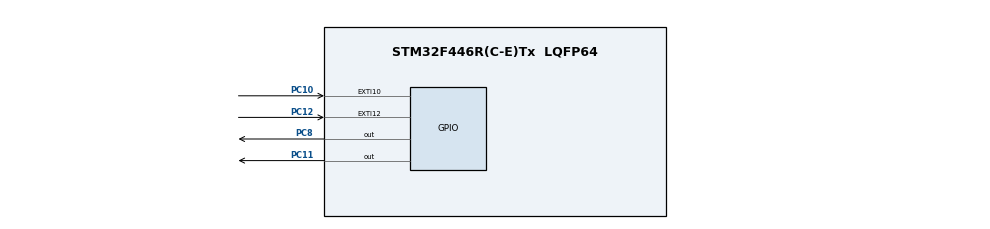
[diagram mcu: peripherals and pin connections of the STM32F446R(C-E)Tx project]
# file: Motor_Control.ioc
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Mcu.Family=STM32F4
Mcu.Name=STM32F446R(C-E)Tx
Mcu.Package=LQFP64
NVIC.EXTI15_10_IRQn=true\:0\:0\:false\:false\:true\:true\:true
NVIC.PriorityGroup=NVIC_PRIORITYGROUP_4
NVIC.TIM1_UP_TIM10_IRQn=true\:0\:0\:false\:false\:true\:true\:true
PA13.Mode=Trace_Asynchronous_SW
PA13.Signal=SYS_JTMS-SWDIO
PA14.Mode=Trace_Asynchronous_SW
PA14.Signal=SYS_JTCK-SWCLK
PB3.Mode=Trace_Asynchronous_SW
PB3.Signal=SYS_JTDO-SWO
PC10.Signal=GPXTI10
PC11.Signal=GPIO_Output
PC12.Signal=GPXTI12
PC14-OSC32_IN.Mode=LSE-External-Oscillator
PC14-OSC32_IN.Signal=RCC_OSC32_IN
PC15-OSC32_OUT.Mode=LSE-External-Oscillator
PC15-OSC32_OUT.Signal=RCC_OSC32_OUT
PC8.Signal=GPIO_Output
PH0-OSC_IN.Mode=HSE-External-Oscillator
PH0-OSC_IN.Signal=RCC_OSC_IN
PH1-OSC_OUT.Mode=HSE-External-Oscillator
PH1-OSC_OUT.Signal=RCC_OSC_OUT
ProjectManager.HeapSize=0x200
ProjectManager.StackSize=0x400
ProjectManager.TargetToolchain=STM32CubeIDE
RCC.AHBFreq_Value=16000000
RCC.APB1Freq_Value=16000000
RCC.APB1TimFreq_Value=16000000
RCC.APB2Freq_Value=16000000
RCC.APB2TimFreq_Value=16000000
RCC.CortexFreq_Value=16000000
RCC.HCLKFreq_Value=16000000
RCC.USBFreq_Value=96000000
RCC.VCOOutputFreq_Value=192000000
TIM1.Period=10000-1
TIM1.Prescaler=16-1
TIM6.Period=65535 -1
TIM6.Prescaler=16-1
TIM7.Period=65535 -1
TIM7.Prescaler=16-1
VP_TIM1_VS_ClockSourceINT.Mode=Internal
VP_TIM6_VS_ClockSourceINT.Mode=Enable_Timer
VP_TIM7_VS_ClockSourceINT.Mode=Enable_Timer
board=custom

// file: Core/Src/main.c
/* USER CODE BEGIN Header */
/**
  ******************************************************************************
  * @file           : main.c
  * @brief          : Main program body
  ******************************************************************************
  * @attention
  *
  * <h2><center>&copy; Copyright (c) 2021 STMicroelectronics.
  * All rights reserved.</center></h2>
  *
  * This software component is licensed by ST under BSD 3-Clause license,
  * the "License"; You may not use this file except in compliance with the
  * License. You may obtain a copy of the License at:
  *                        opensource.org/licenses/BSD-3-Clause
  *
  ******************************************************************************
  */
/* USER CODE END Header */
#include "main.h"
#include "tim.h"
#include "gpio.h"

/* USER CODE BEGIN Includes */
#include <stdint.h>
#include "ppm.h"
/* USER CODE END Includes */

/* USER CODE BEGIN PV */
extern TIM_HandleTypeDef htim1;
extern uint8_t G_Angule_Value;
extern volatile uint8_t G_phase_Value;
extern Direction_increment_T gflag_increment;
/* USER CODE END PV */

void SystemClock_Config(void);

int main(void)
{

  /* MCU Configuration--------------------------------------------------------*/

  /* Reset of all peripherals, Initializes the Flash interface and the Systick. */
  HAL_Init();

  /* Configure the system clock */
  SystemClock_Config();

  /* Initialize all configured peripherals */
  MX_GPIO_Init();
  MX_TIM1_Init();
  MX_TIM7_Init();
  MX_TIM6_Init();
  /* USER CODE BEGIN 2 */
  //HAL_TIM_PWM_Start(&htim1, TIM_CHANNEL_1);
  HAL_TIM_Base_Start(&htim7);
  HAL_TIM_Base_Start_IT(&htim1);
  //HAL_TIM_Base_Start(&htim6);
  soft_start();
  /* USER CODE END 2 */

  /* Infinite loop */
  while (1)
  {

    /* USER CODE BEGIN 3 */

	  speed_set();
  }
  /* USER CODE END 3 */
}

void SystemClock_Config(void)
{
  RCC_OscInitTypeDef RCC_OscInitStruct = {0};
  RCC_ClkInitTypeDef RCC_ClkInitStruct = {0};

  /** Configure the main internal regulator output voltage
  */
  __HAL_RCC_PWR_CLK_ENABLE();
  __HAL_PWR_VOLTAGESCALING_CONFIG(PWR_REGULATOR_VOLTAGE_SCALE3);
  /** Initializes the RCC Oscillators according to the specified parameters
  * in the RCC_OscInitTypeDef structure.
  */
  RCC_OscInitStruct.OscillatorType = RCC_OSCILLATORTYPE_HSI;
  RCC_OscInitStruct.HSIState = RCC_HSI_ON;
  RCC_OscInitStruct.HSICalibrationValue = RCC_HSICALIBRATION_DEFAULT;
  RCC_OscInitStruct.PLL.PLLState = RCC_PLL_NONE;
  if (HAL_RCC_OscConfig(&RCC_OscInitStruct) != HAL_OK)
  {
    Error_Handler();
  }
  /** Initializes the CPU, AHB and APB buses clocks
  */
  RCC_ClkInitStruct.ClockType = RCC_CLOCKTYPE_HCLK|RCC_CLOCKTYPE_SYSCLK
                              |RCC_CLOCKTYPE_PCLK1|RCC_CLOCKTYPE_PCLK2;
  RCC_ClkInitStruct.SYSCLKSource = RCC_SYSCLKSOURCE_HSI;
  RCC_ClkInitStruct.AHBCLKDivider = RCC_SYSCLK_DIV1;
  RCC_ClkInitStruct.APB1CLKDivider = RCC_HCLK_DIV1;
  RCC_ClkInitStruct.APB2CLKDivider = RCC_HCLK_DIV1;

  if (HAL_RCC_ClockConfig(&RCC_ClkInitStruct, FLASH_LATENCY_0) != HAL_OK)
  {
    Error_Handler();
  }
}

/* USER CODE BEGIN 4 */

void HAL_TIM_PeriodElapsedCallback(TIM_HandleTypeDef *htim)
{

	if(htim == &htim1)
	{
		HAL_GPIO_TogglePin(GPIOC, GPIO_PIN_11);
		ppm(G_Angule_Value);

	}
}

void HAL_GPIO_EXTI_Callback(uint16_t GPIO_Pin)
{
	if(GPIO_Pin == INCREMENT_BUTTON)
	{
		gflag_increment = decrement;
		if(G_phase_Value >= 0x04U)
		{
			G_phase_Value = 0x04U;
		}
		else
		{
			G_phase_Value = G_phase_Value << 0x01U;
		}

	}
	else if(GPIO_Pin == DECREMENT_BUTTON)
	{
		gflag_increment = increment;
		if(G_phase_Value <= 0x01U)
		{
			G_phase_Value = 0x01U;
		}
		else
		{
			G_phase_Value = G_phase_Value >> 0x01U;
		}

	}
}

/* USER CODE END 4 */

void Error_Handler(void)
{
}

/************************ (C) COPYRIGHT STMicroelectronics *****END OF FILE****/
